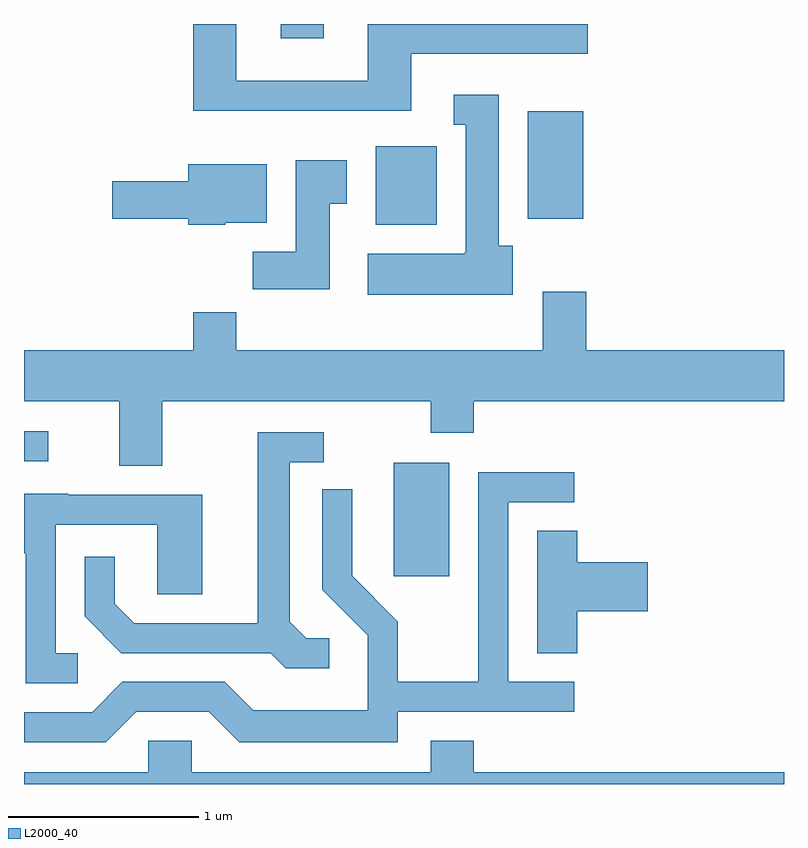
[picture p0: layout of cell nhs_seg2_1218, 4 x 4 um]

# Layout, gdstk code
import gdstk
lib = gdstk.Library(unit=1e-6, precision=1e-09)
def R(c, l, rs):  # rectangles x0, y0, x1, y1
    for r in rs: c.add(gdstk.rectangle(r[:2], r[2:], *l))
def P(c, l, *ps):  # polygons
    for p in ps: c.add(gdstk.Polygon(p, *l))
L2000_40 = (2000, 40)

nhs_seg2_1218 = lib.new_cell('nhs_seg2_1218')
R(nhs_seg2_1218, L2000_40, [(221.556,1102.896,221.849,1103.494), (219.611,1103.501,219.738,1103.659), (221.461,1104.746,221.784,1105.159), (222.261,1104.776,222.554,1105.344), (220.961,1105.726,221.189,1105.802)])
P(nhs_seg2_1218, L2000_40, [(221.649,1105.646),(222.578,1105.646),(222.578,1105.802),(221.421,1105.802),(221.421,1105.504),(220.729,1105.504),(220.729,1105.802),(220.501,1105.802),(220.501,1105.346),(221.649,1105.346)],
  [(222.184,1104.634),(222.109,1104.634),(222.109,1105.429),(221.873,1105.429),(221.873,1105.271),(221.936,1105.271),(221.936,1104.6),(221.93,1104.6),(221.93,1104.594),(221.421,1104.594),(221.421,1104.376),(222.184,1104.376)],
  [(221.219,1104.856),(221.309,1104.856),(221.309,1105.084),(221.041,1105.084),(221.041,1104.604),(220.816,1104.604),(220.816,1104.406),(221.219,1104.406)],
  [(220.67,1104.756),(220.889,1104.756),(220.889,1105.064),(220.476,1105.064),(220.476,1104.974),(220.076,1104.974),(220.076,1104.776),(220.476,1104.776),(220.476,1104.746),(220.67,1104.746)],
  [(220.339,1103.816),(221.751,1103.816),(221.751,1103.651),(221.979,1103.651),(221.979,1103.816),(223.611,1103.816),(223.611,1104.084),(222.569,1104.084),(222.569,1104.394),(222.341,1104.394),(222.341,1104.084),(220.729,1104.084),(220.729,1104.284),(220.501,1104.284),(220.501,1104.084),(219.611,1104.084),(219.611,1103.816),(220.111,1103.816),(220.111,1103.476),(220.339,1103.476)],
  [(221.218,1102.569),(221.097,1102.569),(221.009,1102.657),(221.009,1103.496),(221.188,1103.496),(221.188,1103.654),(220.841,1103.654),(220.841,1102.649),(220.192,1102.649),(220.089,1102.752),(220.089,1102.998),(219.931,1102.998),(219.931,1102.684),(220.124,1102.491),(220.909,1102.491),(220.989,1102.411),(221.218,1102.411)],
  [(220.202,1102.181),(220.584,1102.181),(220.744,1102.021),(221.579,1102.021),(221.579,1102.181),(222.508,1102.181),(222.508,1102.339),(222.159,1102.339),(222.159,1103.286),(222.508,1103.286),(222.508,1103.444),(222.001,1103.444),(222.001,1102.339),(221.579,1102.339),(221.579,1102.657),(221.339,1102.897),(221.339,1103.353),(221.181,1103.353),(221.181,1102.824),(221.421,1102.584),(221.421,1102.189),(220.817,1102.189),(220.667,1102.339),(220.129,1102.339),(219.969,1102.179),(219.611,1102.179),(219.611,1102.021),(220.042,1102.021)],
  [(219.893,1102.489),(219.779,1102.489),(219.779,1103.166),(220.311,1103.166),(220.311,1102.801),(220.549,1102.801),(220.549,1103.324),(219.845,1103.324),(219.845,1103.329),(219.611,1103.329),(219.611,1103.016),(219.621,1103.016),(219.621,1102.331),(219.893,1102.331)],
  [(222.524,1102.711),(222.894,1102.711),(222.894,1102.969),(222.524,1102.969),(222.524,1103.134),(222.311,1103.134),(222.311,1102.491),(222.524,1102.491)],
  [(223.611,1101.864),(221.979,1101.864),(221.979,1102.029),(221.751,1102.029),(221.751,1101.864),(220.494,1101.864),(220.494,1102.029),(220.266,1102.029),(220.266,1101.864),(219.611,1101.864),(219.611,1101.802),(223.611,1101.802)])

lib.write_gds('nhs_seg2_1218.gds')
